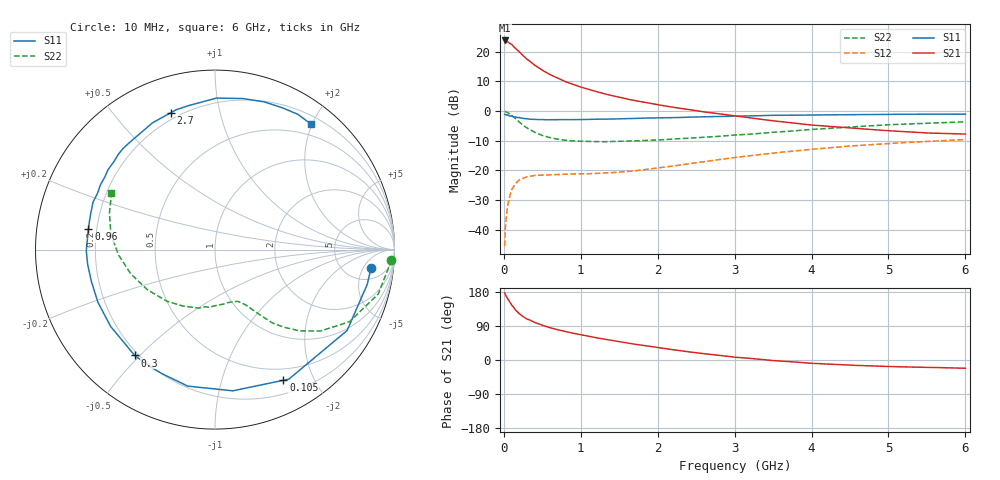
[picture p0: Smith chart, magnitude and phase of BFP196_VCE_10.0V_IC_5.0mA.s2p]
! Infineon Technologies  Discrete & RF Semiconductors
! BFP196
! VCE = 10.0V,  IC = 5.0mA
! Common Emitter S-Parameters:  Jan 2016
# GHz  S  MA  R  50
!  f  S11  S21  S12  S22
! GHz  MAG  ANG  MAG  ANG  MAG  ANG  MAG  ANG
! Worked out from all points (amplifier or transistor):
!   210 points, 10 MHz to 6 GHz, reference 50 ohm
!   highest |S21| = 23.7 dB at 10 MHz (marker M1)
!   |S21| within 3 dB of that: start of sweep to 165.1 MHz
!   unconditionally stable (mu >= 1): 1.19 GHz to 3.357 GHz
!   at 185 MHz: K = 0.19, MSG = 21.9 dB, |S12| = -23.6 dB
!   at 1.52 GHz: K = 1.17, MAG = 10.0 dB, |S12| = -20.6 dB
!   at 6 GHz: K = 0.98, MSG = 0.9 dB, |S12| = -9.6 dB
!   S11 on the Smith chart (normalised r, x): 10 MHz: 9, -7; 105 MHz: 0.36, -1.59; 300 MHz: 0.18, -0.48; 960 MHz: 0.17, +0.08; 2.7 GHz: 0.17, +0.71; 6 GHz: 0.32, +1.97
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0.01  0.8757 -6.6  15.34 177.1  0.0053 86.0  0.982 -3.3
0.02  0.87 -12.9  14.94 172.3  0.0106 82.3  0.9718 -6.2
0.05  0.8631 -31.5  14.52 161.7  0.0257 73.2  0.9425 -15.2
0.1  0.8308 -60.3  13.23 145.6  0.0465 59.5  0.8502 -28.2
0.105  0.8216 -62.4  13.02 144.4  0.0477 58.1  0.8386 -29.0
0.15  0.7931 -82.8  11.33 132.2  0.0599 48.4  0.7434 -37.6
0.2  0.7755 -101.3  9.889 122.4  0.0688 41.1  0.6521 -44.0
0.24  0.7519 -112.9  8.778 116.0  0.0729 36.3  0.5885 -47.7
0.3  0.7403 -127.2  7.454 108.3  0.0776 31.7  0.5174 -52.0
0.4  0.7221 -143.6  5.907 99.1  0.0822 26.4  0.4379 -55.7
0.5  0.7153 -155.7  4.835 91.5  0.0834 23.5  0.3864 -58.5
0.6  0.7113 -165.6  4.095 85.2  0.0845 22.3  0.3536 -60.9
0.7  0.7143 -173.4  3.555 79.8  0.0851 21.5  0.3344 -63.1
0.96  0.7142 170.9  2.624 68.3  0.0871 22.3  0.3105 -68.6
1.02  0.7167 167.6  2.477 65.8  0.0872 22.8  0.3082 -70.2
1.4  0.7332 150.6  1.814 51.8  0.0913 27.6  0.307 -80.9
2.02  0.7635 128.5  1.259 32.3  0.1108 36.2  0.3245 -100.3
2.7  0.8011 107.9  0.93 14.5  0.1459 39.2  0.3668 -123.0
3.1  0.8191 98.1  0.793 6.0  0.1704 37.5  0.3991 -136.4
4.1  0.8568 78.0  0.566 -9.6  0.2318 28.7  0.4966 -166.8
5.1  0.8755 63.5  0.456 -17.7  0.2878 16.6  0.5913 169.4
6  0.8804 52.8  0.408 -21.8  0.3297 5.0  0.6562 151.5
